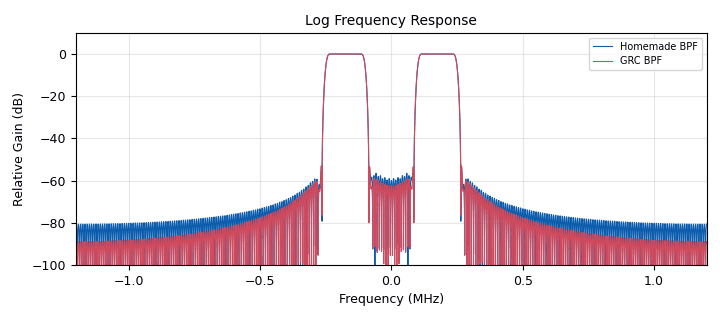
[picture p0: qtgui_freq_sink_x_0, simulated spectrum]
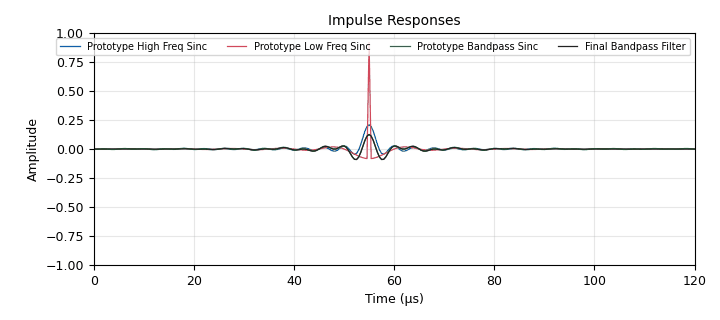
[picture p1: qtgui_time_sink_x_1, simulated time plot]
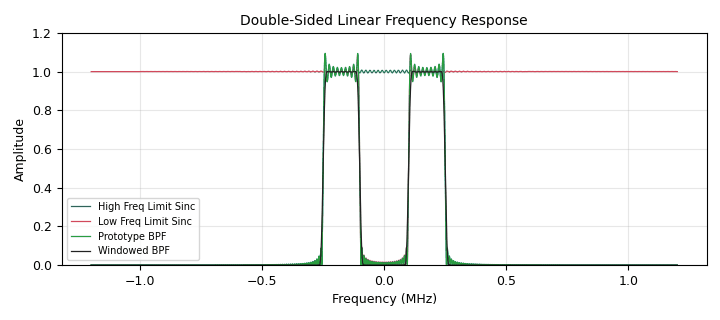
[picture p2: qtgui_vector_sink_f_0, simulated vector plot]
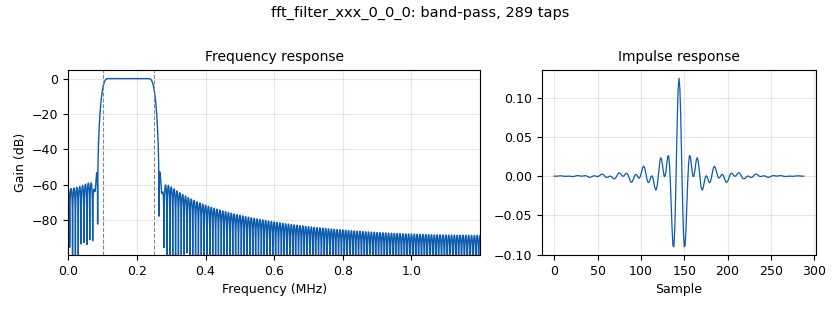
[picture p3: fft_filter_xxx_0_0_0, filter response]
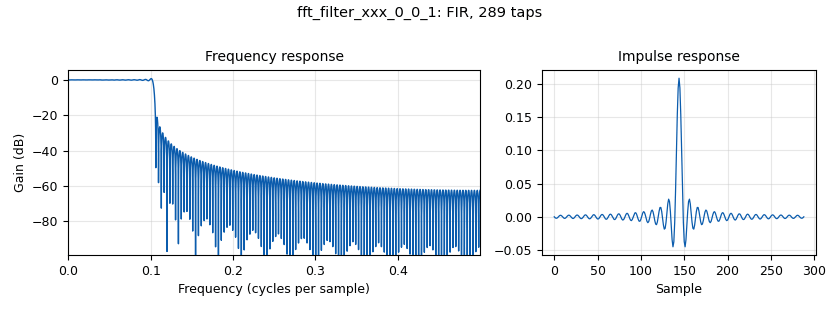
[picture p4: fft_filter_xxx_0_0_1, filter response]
options:
  parameters:
    author: Gary Schafer
    generate_options: qt_gui
    id: filter_impulse_response_highpass
    output_language: python
    title: Create a Bandpass Filter by Combining a Lowpass & Highpass Filter
  states: {}

blocks:
- name: M
  id: variable
  parameters:
    comment: |-
      Used to create symmetric
      counter around 0.
      ----------------------------------
      Value: int((filt_length-1)/2)
    value: int((filt_length-1)/2)
  states: {}
- name: N
  id: variable
  parameters:
    value: 2**14
  states: {}
- name: all_pass
  id: variable
  parameters:
    comment: |-
      Impulse used to
      create all-pass filter
    value: '[0,]*M+[1,]+[0,]*M'
  states: {}
- name: bpf
  id: variable
  parameters:
    comment: |-
      Final bandpass filter
      by normalizing the
      gain of the windowed
      bandpass filter.
    value: bpf_win/gain
  states: {}
- name: bpf_sinc
  id: variable
  parameters:
    comment: |-
      Created bandpass sinc
      curve by convolving
      the lowpass and highpass
      sinc curves.
    value: np.convolve(hpf_sinc,sinc_high,mode='same')
  states: {}
- name: bpf_win
  id: variable
  parameters:
    comment: |-
      Window the bandpass
      sinc curve.
    value: np.multiply(bpf_sinc,w)
  states: {}
- name: cutoff_high
  id: variable
  parameters:
    comment: |-
      High frequency
      limit
    value: 250e3
  states: {}
- name: cutoff_low
  id: variable
  parameters:
    comment: |-
      Low frequency
      limit
    value: 100e3
  states: {}
- name: filt_length
  id: variable
  parameters:
    comment: |-
      Number of taps to
      use creating the filter.
      This corresponds to
      a harris approximation
      calculation using a 
      transition width of
      20 kHz with a 2.4 MHz
      sample rate and Hamming
      window.
    value: '289'
  states: {}
- name: freq_shift
  id: variable
  parameters:
    comment: |-
      Frequency shift used
      to calculate the gain
      of the bandpass filter.
    value: np.cos(np.pi*n*(cutoff_low+cutoff_high)/samp_rate)
  states: {}
- name: gain
  id: variable
  parameters:
    comment: |-
      Calculate the gain of
      the frequency-shifted
      bandpass filter.
    value: np.sum(np.multiply(bpf_win,freq_shift))
  states: {}
- name: grc_bpf
  id: variable_band_pass_filter_taps
  parameters:
    comment: |-
      Gnu Radio Companion
      bandpass filter taps
      for comparison.
    gain: '1.0'
    high_cutoff_freq: cutoff_high
    low_cutoff_freq: cutoff_low
    samp_rate: samp_rate
    type: band_pass
    width: 20e3
    win: window.WIN_HAMMING
  states: {}
- name: hpf_sinc
  id: variable
  parameters:
    comment: |-
      Transform low frequency
      sinc curve into highpass
      sinc curve by subtracting it
      from the all-pass impulse
      response.
    value: np.subtract(all_pass,sinc_low)
  states: {}
- name: n
  id: variable
  parameters:
    comment: |-
      Counter used to
      create sinc curves
    value: np.arange(-M,M+1,1)
  states: {}
- name: samp_rate
  id: variable
  parameters:
    value: 2.4e6
  states: {}
- name: sinc_high
  id: variable
  parameters:
    comment: |-
      Lowpass sinc curve
      for high frequency limit
    value: 2*cutoff_high*np.sinc(2*n*cutoff_high/samp_rate)/samp_rate
  states: {}
- name: sinc_low
  id: variable
  parameters:
    comment: |-
      Lowpass sinc curve
      for low frequency limit
    value: 2*cutoff_low*np.sinc(2*n*cutoff_low/samp_rate)/samp_rate
  states: {}
- name: w
  id: variable
  parameters:
    comment: Window curve
    value: window.hamming(filt_length)
  states: {}
- name: blocks_complex_to_mag_0
  id: blocks_complex_to_mag
  parameters:
    vlen: N
  states: {}
- name: blocks_complex_to_mag_0_0
  id: blocks_complex_to_mag
  parameters:
    vlen: N
  states: {}
- name: blocks_complex_to_mag_0_0_0
  id: blocks_complex_to_mag
  parameters:
    vlen: N
  states: {}
- name: blocks_complex_to_mag_0_0_0_0
  id: blocks_complex_to_mag
  parameters:
    vlen: N
  states: {}
- name: blocks_stream_to_vector_0
  id: blocks_stream_to_vector
  parameters:
    num_items: N
    type: float
  states: {}
- name: blocks_stream_to_vector_0_0
  id: blocks_stream_to_vector
  parameters:
    num_items: N
    type: float
  states: {}
- name: blocks_stream_to_vector_0_0_0
  id: blocks_stream_to_vector
  parameters:
    num_items: N
    type: float
  states: {}
- name: blocks_stream_to_vector_0_0_0_0
  id: blocks_stream_to_vector
  parameters:
    num_items: N
    type: float
  states: {}
- name: blocks_throttle_0
  id: blocks_throttle
  parameters:
    samples_per_second: samp_rate
    type: float
  states: {}
- name: blocks_vector_source_x_0
  id: blocks_vector_source_x
  parameters:
    comment: Impulse generator
    repeat: 'True'
    type: float
    vector: '[0,]*int(N/2-1)+[N,]+[0,]*int(N/2)'
  states: {}
- name: blocks_vector_source_x_0_0
  id: blocks_vector_source_x
  parameters:
    comment: |-
      Prototype bandpass
      since curve
    repeat: 'True'
    type: float
    vector: bpf_sinc
  states: {}
- name: blocks_vector_source_x_0_0_0
  id: blocks_vector_source_x
  parameters:
    comment: |-
      Final windowed
      and gain-normalized
      bandpass filter.
    repeat: 'True'
    type: float
    vector: bpf
  states: {}
- name: blocks_vector_source_x_0_0_0_0
  id: blocks_vector_source_x
  parameters:
    comment: |-
      Prototype sinc
      curve for high
      frequency limit
    repeat: 'True'
    type: float
    vector: hpf_sinc
  states: {}
- name: blocks_vector_source_x_0_0_1
  id: blocks_vector_source_x
  parameters:
    comment: |-
      Prototype sinc
      curve for low
      frequency limit
    repeat: 'True'
    type: float
    vector: sinc_high
  states: {}
- name: blocks_vector_source_x_0_1
  id: blocks_vector_source_x
  parameters:
    comment: Impulse generator
    repeat: 'True'
    type: float
    vector: '[0,]*int(N/2-1)+[N,]+[0,]*int(N/2)'
  states: {}
- name: fft_filter_xxx_0_0
  id: fft_filter_xxx
  parameters:
    decim: '1'
    taps: bpf
    type: fff
  states: {}
- name: fft_filter_xxx_0_0_0
  id: fft_filter_xxx
  parameters:
    decim: '1'
    taps: grc_bpf
    type: fff
  states: {}
- name: fft_filter_xxx_0_0_0_0
  id: fft_filter_xxx
  parameters:
    decim: '1'
    taps: hpf_sinc
    type: fff
  states: {}
- name: fft_filter_xxx_0_0_0_0_0
  id: fft_filter_xxx
  parameters:
    decim: '1'
    taps: bpf_sinc
    type: fff
  states: {}
- name: fft_filter_xxx_0_0_0_0_0_0
  id: fft_filter_xxx
  parameters:
    decim: '1'
    taps: bpf
    type: fff
  states: {}
- name: fft_filter_xxx_0_0_1
  id: fft_filter_xxx
  parameters:
    decim: '1'
    taps: sinc_high
    type: fff
  states: {}
- name: fft_vxx_0
  id: fft_vxx
  parameters:
    fft_size: N
    forward: 'True'
    shift: 'True'
    type: float
    window: '[1/N,]*N'
  states: {}
- name: fft_vxx_0_0
  id: fft_vxx
  parameters:
    fft_size: N
    forward: 'True'
    shift: 'True'
    type: float
    window: '[1/N,]*N'
  states: {}
- name: fft_vxx_0_0_0
  id: fft_vxx
  parameters:
    fft_size: N
    forward: 'True'
    shift: 'True'
    type: float
    window: '[1/N,]*N'
  states: {}
- name: fft_vxx_0_0_0_0
  id: fft_vxx
  parameters:
    fft_size: N
    forward: 'True'
    shift: 'True'
    type: float
    window: '[1/N,]*N'
  states: {}
- name: import_0
  id: import
  parameters:
    imports: import numpy as np
  states: {}
- name: myTabs
  id: qtgui_tab_widget
  parameters:
    gui_hint: 0,0,20,20
    label0: Linear Spectra
    label1: Impulse Response
    label2: Log Spectra
    num_tabs: '3'
  states: {}
- name: note_0
  id: note
  parameters:
    note: Linear Spectra
  states: {}
- name: note_1
  id: note
  parameters:
    note: Impulse Responses
  states: {}
- name: note_2
  id: note
  parameters:
    note: Log Spectra
  states: {}
- name: note_3
  id: note
  parameters:
    comment: |-
      This will create a bandpass filter
      by convolving a lowpass filter
      with a highpass filter.
      1) Calculate the number of filter
      taps.
      2) Calculate the sinc curves for
      the low and high frequency limits.
      3) Transform the low frequency
      limit sinc curve into a highpass
      filter by subtracting it from an
      all-pass impulse response.
      4) Convolve the lowpass
      and highpass sinc curves to create
      the prototype bandpass filter.
      5) Window and normalize the
      bandpass filter to create the final
      filter.
    note: Creating a BPF
  states: {}
- name: qtgui_freq_sink_x_0
  id: qtgui_freq_sink_x
  parameters:
    bw: samp_rate
    color1: '"black"'
    fc: '0'
    fftsize: N
    grid: 'True'
    gui_hint: myTabs@2
    label1: Homemade BPF
    label2: GRC BPF
    name: Log Frequency Response
    nconnections: '2'
    type: float
    ymin: '-100'
  states: {}
- name: qtgui_time_sink_x_1
  id: qtgui_time_sink_x
  parameters:
    gui_hint: myTabs@1
    label1: Prototype High Freq Sinc
    label2: Prototype Low Freq Sinc
    label3: Prototype Bandpass Sinc
    label4: Final Bandpass Filter
    name: Impulse Responses
    nconnections: '4'
    size: filt_length
    srate: samp_rate
    type: float
  states: {}
- name: qtgui_vector_sink_f_0
  id: qtgui_vector_sink_f
  parameters:
    gui_hint: myTabs@0
    label1: High Freq Limit Sinc
    label2: Low Freq Limit Sinc
    label3: Prototype BPF
    label4: Windowed BPF
    name: '"Double-Sided Linear Frequency Response"'
    nconnections: '4'
    vlen: N
    x_axis_label: '"Frequency (MHz)"'
    x_start: '-samp_rate/2e6'
    x_step: samp_rate/1e6/N
    x_units: '"MHz"'
    y_axis_label: '"Amplitude"'
    ymax: '1.2'
    ymin: '0'
  states: {}

connections:
- [blocks_complex_to_mag_0, '0', qtgui_vector_sink_f_0, '0']
- [blocks_complex_to_mag_0_0, '0', qtgui_vector_sink_f_0, '1']
- [blocks_complex_to_mag_0_0_0, '0', qtgui_vector_sink_f_0, '2']
- [blocks_complex_to_mag_0_0_0_0, '0', qtgui_vector_sink_f_0, '3']
- [blocks_stream_to_vector_0, '0', fft_vxx_0, '0']
- [blocks_stream_to_vector_0_0, '0', fft_vxx_0_0, '0']
- [blocks_stream_to_vector_0_0_0, '0', fft_vxx_0_0_0, '0']
- [blocks_stream_to_vector_0_0_0_0, '0', fft_vxx_0_0_0_0, '0']
- [blocks_throttle_0, '0', fft_filter_xxx_0_0, '0']
- [blocks_throttle_0, '0', fft_filter_xxx_0_0_0, '0']
- [blocks_vector_source_x_0, '0', blocks_throttle_0, '0']
- [blocks_vector_source_x_0_0, '0', qtgui_time_sink_x_1, '2']
- [blocks_vector_source_x_0_0_0, '0', qtgui_time_sink_x_1, '3']
- [blocks_vector_source_x_0_0_0_0, '0', qtgui_time_sink_x_1, '1']
- [blocks_vector_source_x_0_0_1, '0', qtgui_time_sink_x_1, '0']
- [blocks_vector_source_x_0_1, '0', fft_filter_xxx_0_0_0_0, '0']
- [blocks_vector_source_x_0_1, '0', fft_filter_xxx_0_0_0_0_0, '0']
- [blocks_vector_source_x_0_1, '0', fft_filter_xxx_0_0_0_0_0_0, '0']
- [blocks_vector_source_x_0_1, '0', fft_filter_xxx_0_0_1, '0']
- [fft_filter_xxx_0_0, '0', qtgui_freq_sink_x_0, '0']
- [fft_filter_xxx_0_0_0, '0', qtgui_freq_sink_x_0, '1']
- [fft_filter_xxx_0_0_0_0, '0', blocks_stream_to_vector_0_0, '0']
- [fft_filter_xxx_0_0_0_0_0, '0', blocks_stream_to_vector_0_0_0, '0']
- [fft_filter_xxx_0_0_0_0_0_0, '0', blocks_stream_to_vector_0_0_0_0, '0']
- [fft_filter_xxx_0_0_1, '0', blocks_stream_to_vector_0, '0']
- [fft_vxx_0, '0', blocks_complex_to_mag_0, '0']
- [fft_vxx_0_0, '0', blocks_complex_to_mag_0_0, '0']
- [fft_vxx_0_0_0, '0', blocks_complex_to_mag_0_0_0, '0']
- [fft_vxx_0_0_0_0, '0', blocks_complex_to_mag_0_0_0_0, '0']

metadata:
  file_format: 1
  grc_version: 3.10.9.2
